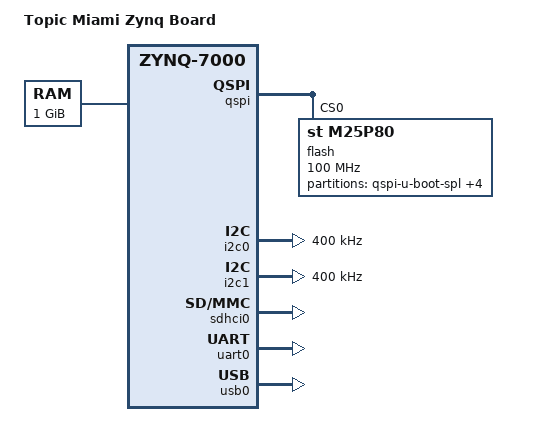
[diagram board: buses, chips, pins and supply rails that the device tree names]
// SPDX-License-Identifier: GPL-2.0+
/*
 * Topic Miami board DTS
 *
 * Copyright (C) 2014-2016 Topic Embedded Products
 */
/dts-v1/;
#include "zynq-7000.dtsi"

/ {
	model = "Topic Miami Zynq Board";
	compatible = "topic,miami", "xlnx,zynq-7000";

	aliases {
		serial0 = &uart0;
		spi0 = &qspi;
		i2c0 = &i2c0;
		i2c1 = &i2c1;
		mmc0 = &sdhci0;
		usbotg0 = &usb0;
	};

	memory@0 {
		device_type = "memory";
		reg = <0x0 0x40000000>;
	};

	chosen {
		stdout-path = "serial0:115200n8";
	};
};

&qspi {
	bootph-all;
	status = "okay";
	num-cs = <1>;
	flash@0 {
		compatible = "st,m25p80", "n25q256a", "jedec,spi-nor";
		m25p,fast-read;
		reg = <0x0>;
		spi-tx-bus-width = <1>;
		spi-rx-bus-width = <4>;
		spi-max-frequency = <100000000>;
		#address-cells = <1>;
		#size-cells = <1>;
		partition@0 {
			label = "qspi-u-boot-spl";
			reg = <0x00000 0x10000>;
		};
		partition@10000 {
			label = "qspi-u-boot-img";
			reg = <0x10000 0x60000>;
		};
		partition@70000 {
			label = "qspi-device-tree";
			reg = <0x70000 0x10000>;
		};
		partition@80000 {
			label = "qspi-linux";
			reg = <0x80000 0x400000>;
		};
		partition@480000 {
			label = "qspi-rootfs";
			reg = <0x480000 0x1b80000>;
		};
	};
};

&i2c0 {
	status = "okay";
	clock-frequency = <400000>;
};

&i2c1 {
	status = "okay";
	clock-frequency = <400000>;
};

&clkc {
	ps-clk-frequency = <33333333>;
};

&sdhci0 {
	bootph-all;
	status = "okay";
};

&uart0 {
	bootph-all;
	status = "okay";
};

&usb0 {
	status = "okay";
};
